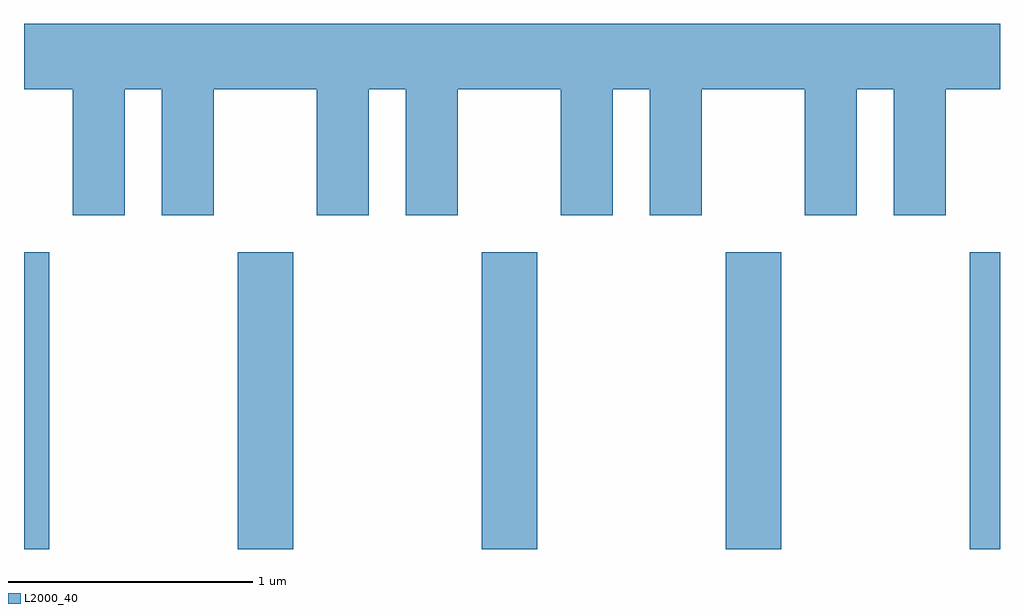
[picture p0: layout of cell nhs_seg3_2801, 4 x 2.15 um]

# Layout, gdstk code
import gdstk
lib = gdstk.Library(unit=1e-6, precision=1e-09)
def R(c, l, rs):  # rectangles x0, y0, x1, y1
    for r in rs: c.add(gdstk.rectangle(r[:2], r[2:], *l))
def A(c, l, x, y, w, h, nx, ny, dx, dy):  # array of equal rectangles
    R(c, l, [(x+i*dx, y+j*dy, x+i*dx+w, y+j*dy+h) for i in range(nx) for j in range(ny)])
def P(c, l, *ps):  # polygons
    for p in ps: c.add(gdstk.Polygon(p, *l))
L2000_40 = (2000, 40)

nhs_seg3_2801 = lib.new_cell('nhs_seg3_2801')
A(nhs_seg3_2801, L2000_40, 268.486, 1141.892, 0.228, 1.217, 3, 1, 1, 0)
R(nhs_seg3_2801, L2000_40, [(267.611,1141.892,267.714,1143.109), (271.486,1141.892,271.611,1143.109)])
P(nhs_seg3_2801, L2000_40, [(268.024,1143.776),(268.176,1143.776),(268.176,1143.261),(268.389,1143.261),(268.389,1143.776),(268.811,1143.776),(268.811,1143.261),(269.024,1143.261),(269.024,1143.776),(269.176,1143.776),(269.176,1143.261),(269.389,1143.261),(269.389,1143.776),(269.811,1143.776),(269.811,1143.261),(270.024,1143.261),(270.024,1143.776),(270.176,1143.776),(270.176,1143.261),(270.389,1143.261),(270.389,1143.776),(270.811,1143.776),(270.811,1143.261),(271.024,1143.261),(271.024,1143.776),(271.176,1143.776),(271.176,1143.261),(271.389,1143.261),(271.389,1143.776),(271.611,1143.776),(271.611,1144.044),(267.611,1144.044),(267.611,1143.776),(267.811,1143.776),(267.811,1143.261),(268.024,1143.261)])

lib.write_gds('nhs_seg3_2801.gds')
